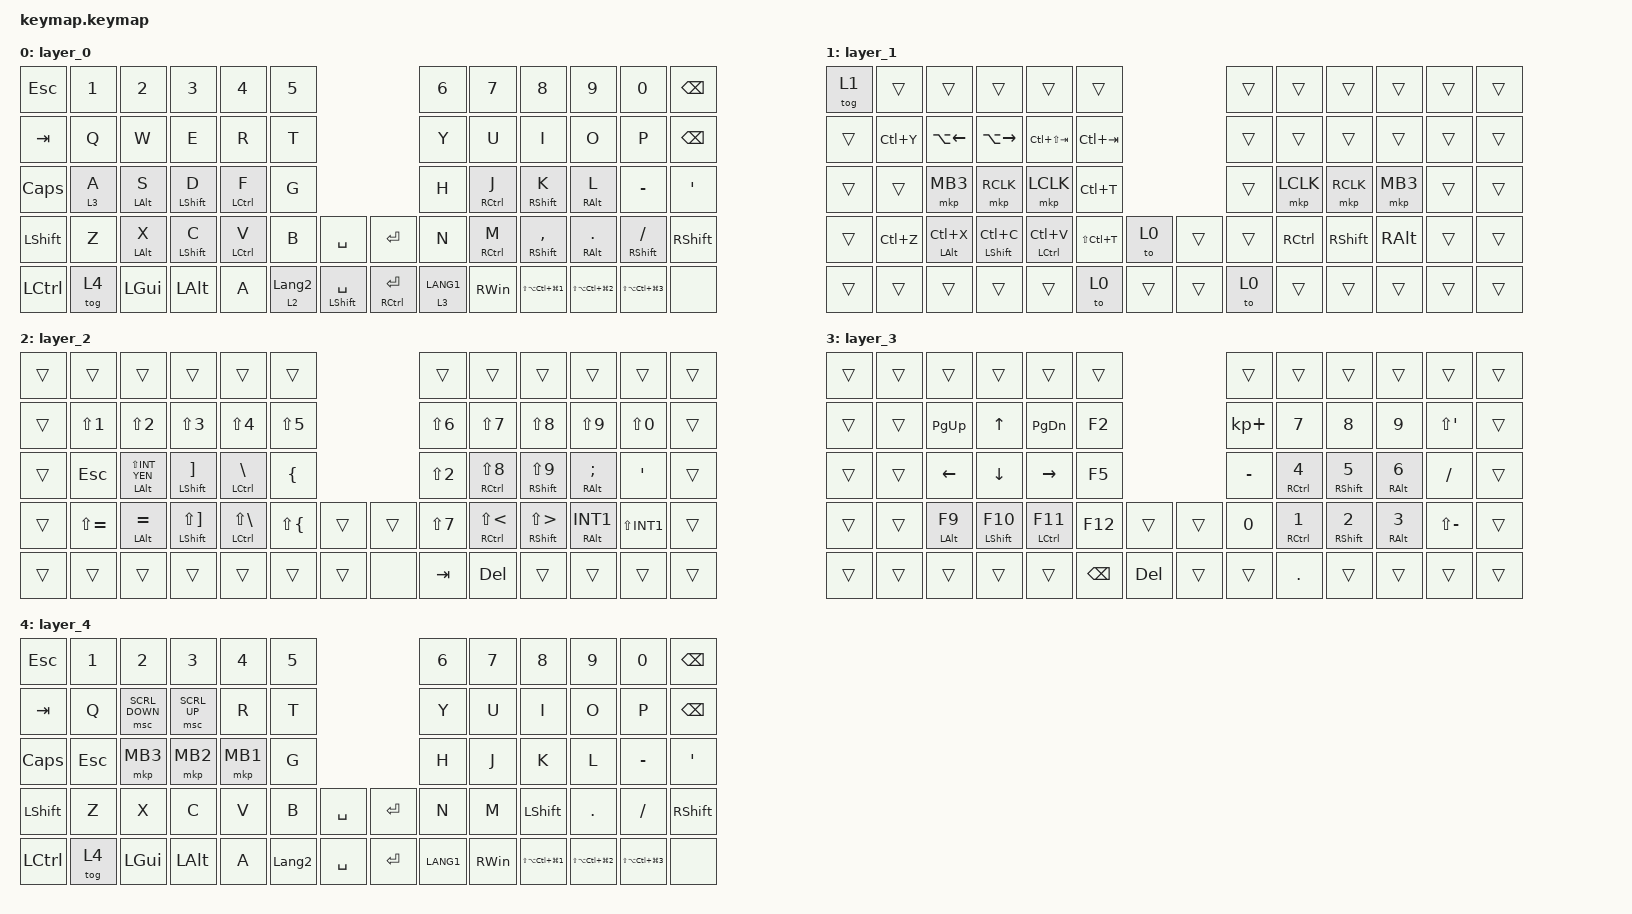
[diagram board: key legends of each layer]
#include <behaviors.dtsi>
#include <dt-bindings/zmk/bt.h>
#include <dt-bindings/zmk/keys.h>
#include <dt-bindings/zmk/pointing.h>

/ {
    combos {
        compatible = "zmk,combos";

        bt_clear {
            bindings = <&bt BT_CLR>;
            key-positions = <28 29>;
            layers = <3>;
        };
    };

    keymap {
        compatible = "zmk,keymap";

        layer_0 {
            bindings = <
&kp ESC    &kp N1   &kp N2          &kp N3            &kp N4       &kp N5                                                   &kp N6       &kp N7         &kp N8                        &kp N9                        &kp N0                        &kp BSPC
&kp TAB    &kp Q    &kp W           &kp E             &kp R        &kp T                                                    &kp Y        &kp U          &kp I                         &kp O                         &kp P                         &kp BSPC
&kp CAPS   &lt 3 A  &mt LEFT_ALT S  &mt LSHIFT D      &mt LCTRL F  &kp G                                                    &kp H        &mt RCTRL J    &mt RIGHT_SHIFT K             &mt RIGHT_ALT L               &kp MINUS                     &kp SQT
&kp LSHFT  &kp Z    &mt LEFT_ALT X  &mt LEFT_SHIFT C  &mt LCTRL V  &kp B             &kp SPACE             &kp RET          &kp N        &mt RCTRL M    &mt RIGHT_SHIFT COMMA         &mt RIGHT_ALT PERIOD          &mt RIGHT_SHIFT FSLH          &kp RSHFT
&kp LCTRL  &tog 4   &kp LGUI        &kp LALT          &kp A        &lt 2 LANGUAGE_2  &mt LEFT_SHIFT SPACE  &mt RCTRL ENTER  &lt 3 LANG1  &kp RIGHT_WIN  &kp LS(LA(LC(LG(NUMBER_1))))  &kp LS(LA(LC(LG(NUMBER_2))))  &kp LS(LA(LC(LG(NUMBER_3))))  &none
            >;
        };

        layer_1 {
            bindings = <
&tog 1  &trans     &trans              &trans                &trans           &trans                         &trans  &trans     &trans           &trans         &trans  &trans
&trans  &kp LC(Y)  &kp LA(LEFT)        &kp LA(RIGHT)         &kp LC(LS(TAB))  &kp LC(TAB)                    &trans  &trans     &trans           &trans         &trans  &trans
&trans  &trans     &mkp MB3            &mkp RCLK             &mkp LCLK        &kp LC(T)                      &trans  &mkp LCLK  &mkp RCLK        &mkp MB3       &trans  &trans
&trans  &kp LC(Z)  &mt LEFT_ALT LC(X)  &mt LEFT_SHIFT LC(C)  &mt LCTRL LC(V)  &kp LS(LC(T))  &to 0   &trans  &trans  &kp RCTRL  &kp RIGHT_SHIFT  &kp RIGHT_ALT  &trans  &trans
&trans  &trans     &trans              &trans                &trans           &to 0          &trans  &trans  &to 0   &trans     &trans           &trans         &trans  &trans
            >;
        };

        layer_2 {
            bindings = <
&trans  &trans            &trans                    &trans                        &trans                   &trans                              &trans            &trans                   &trans                       &trans              &trans        &trans
&trans  &kp LS(NUMBER_1)  &kp LS(NUMBER_2)          &kp LS(N3)                    &kp LS(N4)               &kp LS(N5)                          &kp LS(N6)        &kp LS(N7)               &kp LS(N8)                   &kp LS(N9)          &kp LS(N0)    &trans
&trans  &kp ESCAPE        &mt LEFT_ALT LS(INT_YEN)  &mt LSHFT RIGHT_BRACKET       &mt LCTRL BACKSLASH      &kp LEFT_BRACE                      &kp LS(NUMBER_2)  &mt RCTRL LS(N8)         &mt RIGHT_SHIFT LS(N9)       &mt RIGHT_ALT SEMI  &kp SQT       &trans
&trans  &kp LS(EQUAL)     &mt LEFT_ALT EQUAL        &mt LSHIFT LS(RIGHT_BRACKET)  &mt LCTRL LS(BACKSLASH)  &kp LS(LEFT_BRACE)  &trans  &trans  &kp LS(N7)        &mt RCTRL LS(LESS_THAN)  &mt RSHIFT LS(GREATER_THAN)  &mt RIGHT_ALT INT1  &kp LS(INT1)  &trans
&trans  &trans            &trans                    &trans                        &trans                   &trans              &trans  &none   &kp TAB           &kp DEL                  &trans                       &trans              &trans        &trans
            >;
        };

        layer_3 {
            bindings = <
&trans  &trans  &trans           &trans              &trans         &trans                          &trans       &trans              &trans              &trans            &trans         &trans
&trans  &trans  &kp PG_UP        &kp UP              &kp PAGE_DOWN  &kp F2                          &kp KP_PLUS  &kp N7              &kp N8              &kp N9            &kp LS(SQT)    &trans
&trans  &trans  &kp LEFT         &kp DOWN            &kp RIGHT      &kp F5                          &kp MINUS    &mt RCTRL NUMBER_4  &mt RIGHT_SHIFT N5  &mt RIGHT_ALT N6  &kp SLASH      &trans
&trans  &trans  &mt LEFT_ALT F9  &mt LEFT_SHIFT F10  &mt LCTRL F11  &kp F12        &trans   &trans  &kp N0       &mt RCTRL N1        &mt RIGHT_SHIFT N2  &mt RIGHT_ALT N3  &kp LS(MINUS)  &trans
&trans  &trans  &trans           &trans              &trans         &kp BACKSPACE  &kp DEL  &trans  &trans       &kp PERIOD          &trans              &trans            &trans         &trans
            >;
        };

        layer_4 {
            bindings = <
&kp ESC    &kp N1      &kp N2          &kp N3        &kp N4    &kp N5                                &kp N6     &kp N7         &kp N8                        &kp N9                        &kp N0                        &kp BSPC
&kp TAB    &kp Q       &msc SCRL_DOWN  &msc SCRL_UP  &kp R     &kp T                                 &kp Y      &kp U          &kp I                         &kp O                         &kp P                         &kp BSPC
&kp CAPS   &kp ESCAPE  &mkp MB3        &mkp MB2      &mkp MB1  &kp G                                 &kp H      &kp J          &kp K                         &kp L                         &kp MINUS                     &kp SQT
&kp LSHFT  &kp Z       &kp X           &kp C         &kp V     &kp B           &kp SPACE  &kp RET    &kp N      &kp M          &kp LEFT_SHIFT                &kp PERIOD                    &kp FSLH                      &kp RSHFT
&kp LCTRL  &tog 4      &kp LGUI        &kp LALT      &kp A     &kp LANGUAGE_2  &kp SPACE  &kp ENTER  &kp LANG1  &kp RIGHT_WIN  &kp LS(LA(LC(LG(NUMBER_1))))  &kp LS(LA(LC(LG(NUMBER_2))))  &kp LS(LA(LC(LG(NUMBER_3))))  &none
            >;
        };
    };
};

&mt { tapping-term-ms = <300>; };

&lt { tapping-term-ms = <300>; };
